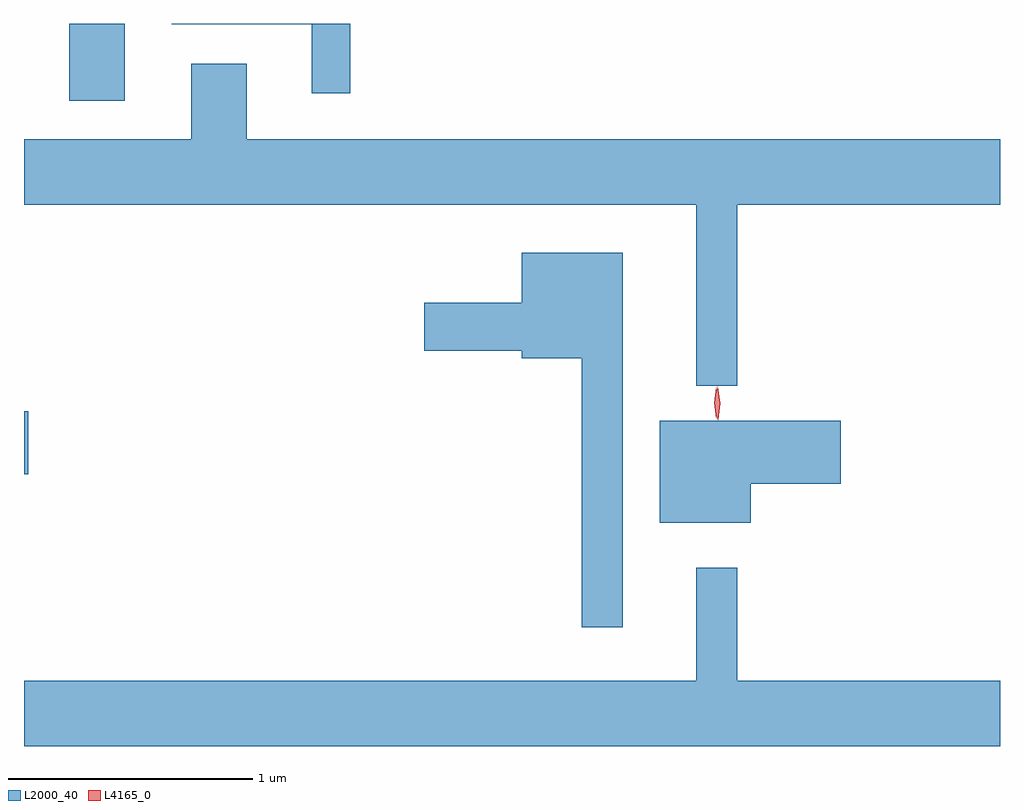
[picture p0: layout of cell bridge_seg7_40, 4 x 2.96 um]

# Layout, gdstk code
import gdstk
lib = gdstk.Library(unit=1e-6, precision=1e-09)
def R(c, l, rs):  # rectangles x0, y0, x1, y1
    for r in rs: c.add(gdstk.rectangle(r[:2], r[2:], *l))
def P(c, l, *ps):  # polygons
    for p in ps: c.add(gdstk.Polygon(p, *l))
L2000_40 = (2000, 40)
L4165_0 = (4165, 0)

bridge_seg7_40 = lib.new_cell('bridge_seg7_40')
R(bridge_seg7_40, L2000_40, [(1526.016,1775.371,1526.034,1775.629), (1526.201,1776.901,1526.429,1777.217)])
P(bridge_seg7_40, L2000_40, [(1527.354,1777.217),(1526.621,1777.217),(1526.621,1777.216),(1527.196,1777.216),(1527.196,1776.933),(1527.354,1776.933)],
  [(1528.939,1776.476),(1530.016,1776.476),(1530.016,1776.744),(1526.929,1776.744),(1526.929,1777.054),(1526.701,1777.054),(1526.701,1776.744),(1526.016,1776.744),(1526.016,1776.476),(1528.771,1776.476),(1528.771,1775.733),(1528.939,1775.733)],
  [(1528.469,1776.279),(1528.056,1776.279),(1528.056,1776.074),(1527.656,1776.074),(1527.656,1775.876),(1528.056,1775.876),(1528.056,1775.846),(1528.301,1775.846),(1528.301,1774.743),(1528.469,1774.743)],
  [(1528.994,1775.331),(1529.364,1775.331),(1529.364,1775.589),(1528.621,1775.589),(1528.621,1775.171),(1528.994,1775.171)],
  [(1530.016,1774.524),(1528.939,1774.524),(1528.939,1774.988),(1528.771,1774.988),(1528.771,1774.524),(1526.016,1774.524),(1526.016,1774.256),(1530.016,1774.256)])
P(bridge_seg7_40, L4165_0, [(1528.86,1775.594),(1528.85,1775.662),(1528.859,1775.73),(1528.86,1775.73),(1528.86,1775.73),(1528.87,1775.662),(1528.861,1775.594),(1528.861,1775.594)],
  [(1528.853,1775.6),(1528.844,1775.664),(1528.853,1775.726),(1528.854,1775.727),(1528.854,1775.726),(1528.864,1775.664),(1528.854,1775.6),(1528.854,1775.6)])

lib.write_gds('bridge_seg7_40.gds')
